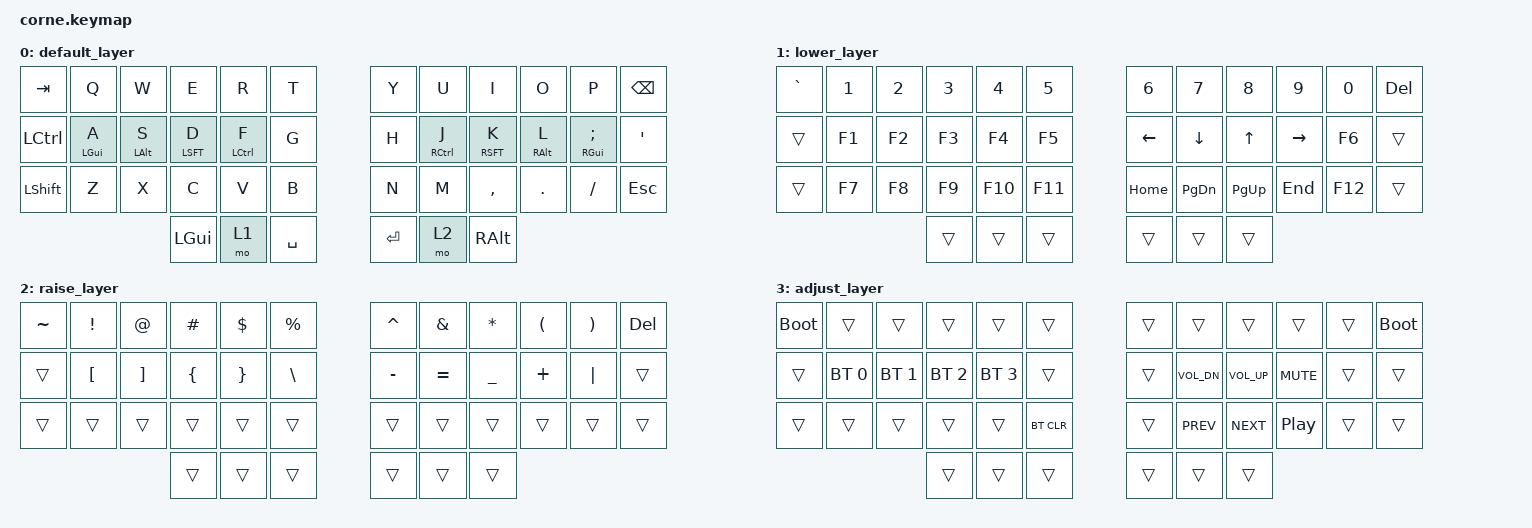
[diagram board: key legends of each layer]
/*
 * Copyright (c) 2020 The ZMK Contributors
 *
 * SPDX-License-Identifier: MIT
 */

#include <behaviors.dtsi>
#include <dt-bindings/zmk/keys.h>
#include <dt-bindings/zmk/bt.h>

/ {
    behaviors {
        // Left hand home row mods (A S D F) -> Triggers when typing on the right side
        hml: timeless_homerow_mods_left {
            compatible = "zmk,behavior-hold-tap";
            #binding-cells = <2>;
            flavor = "balanced";
            tapping-term-ms = <280>;             
            quick-tap-ms = <175>;                
            require-prior-idle-ms = <150>;       
            bindings = <&kp>, <&kp>;
            hold-trigger-on-release;             
            hold-trigger-key-positions = <
                6 7 8 9 10 11                    // Right top row
                18 19 20 21 22 23                // Right home row
                30 31 32 33 34 35                // Right bottom row
                39 40 41                         // Right thumbs
            >;
        };

        // Right hand home row mods (J K L ;) -> Triggers when typing on the left side
        hmr: timeless_homerow_mods_right {
            compatible = "zmk,behavior-hold-tap";
            #binding-cells = <2>;
            flavor = "balanced";
            tapping-term-ms = <280>;
            quick-tap-ms = <175>;
            require-prior-idle-ms = <150>;
            bindings = <&kp>, <&kp>;
            hold-trigger-on-release;             
            hold-trigger-key-positions = <
                0 1 2 3 4 5                      // Left top row
                12 13 14 15 16 17                // Left home row
                24 25 26 27 28 29                // Left bottom row
                36 37 38                         // Left thumbs
            >;
        };
    };

    // Automatically activates Layer 3 (Adjust) when Layer 1 and 2 are held together
    conditional_layers {
        compatible = "zmk,conditional-layers";
        tri_layer {
            if-layers = <1 2>;
            then-layer = <3>;
        };
    };

    keymap {
        compatible = "zmk,keymap";

        // Layer 0: Base Typing Layer
        default_layer {
            bindings = <
            &kp TAB   &kp Q         &kp W         &kp E          &kp R          &kp T             &kp Y        &kp U          &kp I          &kp O         &kp P            &kp BSPC
            &kp LCTRL &hml LGUI A   &hml LALT S   &hml LSFT D    &hml LCTL F    &kp G             &kp H        &hmr RCTL J    &hmr RSFT K    &hmr RALT L   &hmr RGUI SEMI   &kp SQT
            &kp LSHFT &kp Z         &kp X         &kp C          &kp V          &kp B             &kp N        &kp M          &kp COMMA      &kp DOT       &kp FSLH         &kp ESC
                                                  &kp LGUI       &mo 1          &kp SPACE         &kp ENTER    &mo 2          &kp RALT
            >;
        };

        // Layer 1: Numbers & Vim Navigation (Left Thumb)
        lower_layer {
            bindings = <
            &kp GRAVE &kp N1        &kp N2        &kp N3         &kp N4         &kp N5            &kp N6       &kp N7         &kp N8         &kp N9        &kp N0           &kp DEL
            &trans    &kp F1        &kp F2        &kp F3         &kp F4         &kp F5            &kp LEFT     &kp DOWN       &kp UP         &kp RIGHT     &kp F6           &trans
            &trans    &kp F7        &kp F8        &kp F9         &kp F10        &kp F11           &kp HOME     &kp PG_DN      &kp PG_UP      &kp END       &kp F12          &trans
                                                  &trans         &trans         &trans            &trans       &trans         &trans
            >;
        };

        // Layer 2: Code Symbols & Brackets (Right Thumb)
        raise_layer {
            bindings = <
            &kp TILDE &kp EXCL      &kp AT        &kp HASH       &kp DLLR       &kp PRCNT         &kp CARET    &kp AMPS       &kp ASTRK      &kp LPAR      &kp RPAR         &kp DEL
            &trans    &kp LBKT      &kp RBKT      &kp LBRC       &kp RBRC       &kp BSLH          &kp MINUS    &kp EQUAL      &kp UNDER      &kp PLUS      &kp PIPE         &trans
            &trans    &trans        &trans        &trans         &trans         &trans            &trans       &trans         &trans         &trans        &trans           &trans
                                                  &trans         &trans         &trans            &trans       &trans         &trans
            >;
        };

        // Layer 3: System, Bluetooth, & Media (Both Thumbs Held)
        adjust_layer {
            bindings = <
            &bootloader &trans      &trans        &trans         &trans         &trans            &trans       &trans         &trans         &trans        &trans           &bootloader
            &trans      &bt BT_SEL 0 &bt BT_SEL 1 &bt BT_SEL 2   &bt BT_SEL 3   &trans            &trans       &kp C_VOL_DN   &kp C_VOL_UP   &kp C_MUTE    &trans           &trans
            &trans      &trans        &trans        &trans         &trans         &bt BT_CLR        &trans       &kp C_PREV     &kp C_NEXT     &kp C_PP      &trans           &trans
                                                      &trans         &trans         &trans            &trans       &trans         &trans
            >;
        };
    };
};
